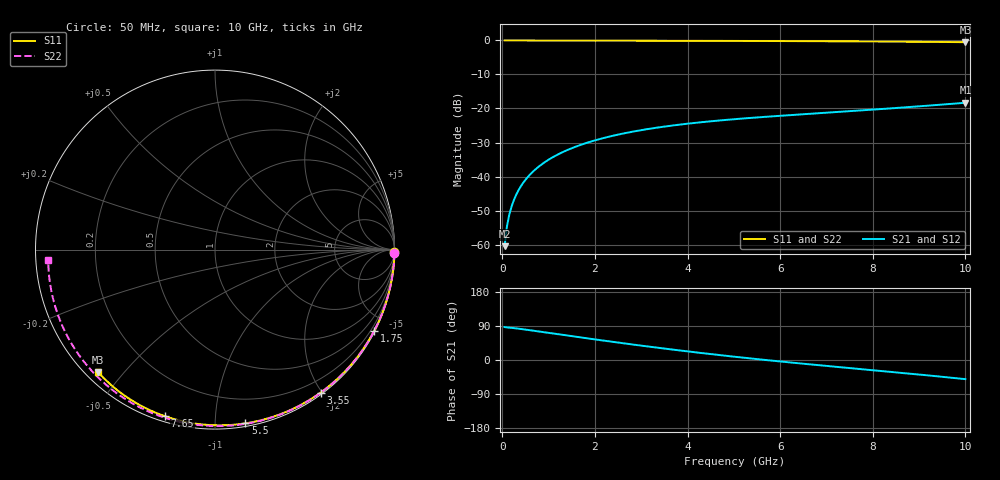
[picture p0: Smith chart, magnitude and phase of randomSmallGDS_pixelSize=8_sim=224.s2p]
! freq	dB(S11)	phase(S11)	dB(S12)	phase(S12)
!  dB(S21)	phase(S21)	dB(S22)	phase(S22)
!S-par simulation data
#  GHz  S  DB  R 50
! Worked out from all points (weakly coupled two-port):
!   200 points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, 50 MHz to 10 GHz, reference 50 ohm
!   highest |S21| = -18.31 dB at 10 GHz (marker M1); lowest = -60.5 dB at 50 MHz (marker M2)
!   lowest |S11| = -0.5 dB at 10 GHz (marker M3), VSWR 34.33, Z = 1.72 - j21.3 ohm
!   |S11| at or under -10 dB: nowhere
!   |S22| runs from -0.6 to 0.0 dB; largest |S21 - S12| = 0
!   S11 on the Smith chart (normalised r, x): 50 MHz: open; 1.75 GHz: 0.04, -4.15; 3.55 GHz: 0.02, -1.98; 5.5 GHz: 0.02, -1.19; 7.65 GHz: 0.02, -0.74; 10 GHz: 0.03, -0.43
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0.05  -0.00 -0.8  -60.47 87.0  -60.47 87.0  -0.00 -1.0
0.1  -0.00 -1.6  -54.68 86.0  -54.68 86.0  -0.00 -2.1
0.15  -0.00 -2.4  -51.27 85.4  -51.27 85.4  -0.00 -3.1
0.2  -0.00 -3.2  -48.83 84.9  -48.83 84.9  -0.00 -4.1
0.25  -0.00 -3.9  -46.92 84.2  -46.92 84.2  -0.00 -5.2
0.35  -0.00 -5.5  -44.03 82.7  -44.03 82.7  -0.01 -7.2
0.5  -0.01 -7.9  -40.96 80.3  -40.96 80.3  -0.01 -10.3
0.7  -0.01 -11.0  -38.08 76.9  -38.08 76.9  -0.02 -14.4
1  -0.02 -15.6  -35.04 71.6  -35.04 71.6  -0.03 -20.5
1.35  -0.03 -21.0  -32.54 65.5  -32.54 65.5  -0.04 -27.5
1.75  -0.04 -27.1  -30.43 58.6  -30.43 58.6  -0.05 -35.5
2.6  -0.06 -39.8  -27.38 44.4  -27.38 44.4  -0.07 -52.0
3.4  -0.08 -51.4  -25.51 31.7  -25.51 31.7  -0.10 -66.9
3.55  -0.08 -53.6  -25.22 29.4  -25.22 29.4  -0.10 -69.7
4.3  -0.11 -64.0  -24.03 18.4  -24.03 18.4  -0.13 -83.0
5.05  -0.13 -74.2  -23.10 8.1  -23.10 8.1  -0.16 -95.9
5.5  -0.15 -80.1  -22.63 2.3  -22.63 2.3  -0.19 -103.4
6.7  -0.21 -95.2  -21.51 -12.2  -21.51 -12.2  -0.26 -122.9
7.65  -0.27 -106.7  -20.66 -23.0  -20.66 -23.0  -0.34 -138.0
8.35  -0.33 -114.9  -20.00 -30.9  -20.00 -30.9  -0.41 -149.1
9.2  -0.41 -124.7  -19.16 -40.7  -19.16 -40.7  -0.51 -162.9
10  -0.51 -133.7  -18.31 -50.5  -18.31 -50.5  -0.62 -176.4
